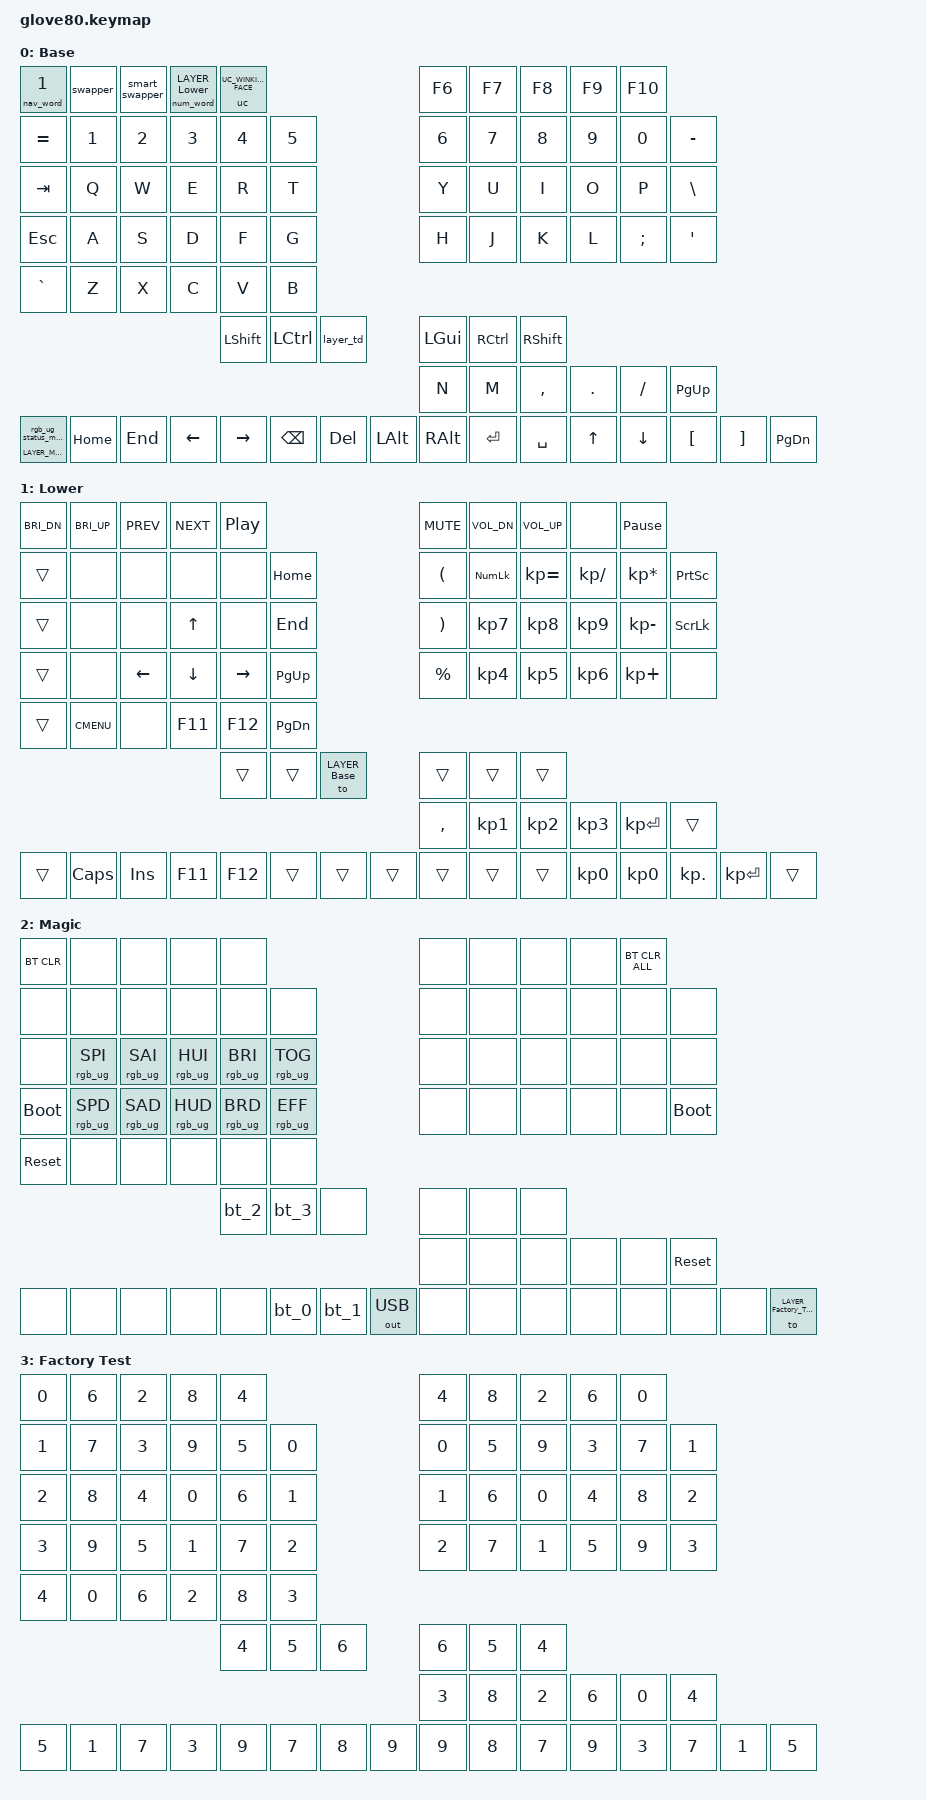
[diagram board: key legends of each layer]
/* Generated by Keyboard Curator. Change the board or the layout there, not this file. */

#include <behaviors.dtsi>
#include <dt-bindings/zmk/keys.h>
#include <dt-bindings/zmk/bt.h>
#include <dt-bindings/zmk/outputs.h>
#include <dt-bindings/zmk/rgb.h>
#include <dt-bindings/zmk/ext_power.h>
#include <dt-bindings/zmk/pointing.h>
#include <input/processors.dtsi>
#include <dt-bindings/zmk/input_transform.h>
#include <behaviors/num_word.dtsi>
#include <behaviors/unicode.dtsi>
#include <zmk-unicode/keys-extra.h>
#include "zmk-helpers/helper.h"

#define LAYER_Base 0
#define LAYER_Lower 1
#define LAYER_Magic 2
#define LAYER_Factory_Test 3

/ {
    behaviors {
        // Template: Magic
        magic: magic {
            compatible = "zmk,behavior-hold-tap";
            #binding-cells = <2>;
            flavor = "tap-preferred";
            tapping-term-ms = <200>;
            bindings = <&mo>, <&rgb_ug_status_macro>;
        };
        // Key 54 on Base: Lower while held; tap twice for Switch to Lower
        layer_td: layer_td {
            compatible = "zmk,behavior-tap-dance";
            #binding-cells = <0>;
            tapping-term-ms = <200>;
            bindings = <&mo LAYER_Lower>, <&to LAYER_Lower>;
        };
        nav_word: nav_word {
            compatible = "zmk,behavior-auto-layer";
            #binding-cells = <1>;
            continue-list = <LEFT DOWN UP RIGHT PG_DN PG_UP>;
            ignore-modifiers;
        };
        swapper: swapper {
            compatible = "zmk,behavior-tri-state";
            #binding-cells = <0>;
            bindings = <&kt LALT>, <&kp TAB>, <&kt LALT>;
        };
        smart_swapper: smart_swapper {
            compatible = "zmk,behavior-smart-toggle";
            #binding-cells = <0>;
            bindings = <&kp LALT>, <&kp TAB>;
        };
    };

    macros {
        // Key 64 on Base: Macro: Show status lights, hold for Magic
        rgb_ug_status_macro: rgb_ug_status_macro {
            compatible = "zmk,behavior-macro";
            #binding-cells = <0>;
            bindings
                = <&macro_tap &rgb_ug RGB_STATUS>
                ;
        };
        // Key 69 on Magic: Macro: Bluetooth 1
        bt_0: bt_0 {
            compatible = "zmk,behavior-macro";
            #binding-cells = <0>;
            bindings
                = <&macro_tap &out OUT_BLE &bt BT_SEL 0>
                ;
        };
        // Key 70 on Magic: Macro: Bluetooth 2
        bt_1: bt_1 {
            compatible = "zmk,behavior-macro";
            #binding-cells = <0>;
            bindings
                = <&macro_tap &out OUT_BLE &bt BT_SEL 1>
                ;
        };
        // Key 52 on Magic: Macro: Bluetooth 3
        bt_2: bt_2 {
            compatible = "zmk,behavior-macro";
            #binding-cells = <0>;
            bindings
                = <&macro_tap &out OUT_BLE &bt BT_SEL 2>
                ;
        };
        // Key 53 on Magic: Macro: Bluetooth 4
        bt_3: bt_3 {
            compatible = "zmk,behavior-macro";
            #binding-cells = <0>;
            bindings
                = <&macro_tap &out OUT_BLE &bt BT_SEL 3>
                ;
        };
    };

    keymap {
        compatible = "zmk,keymap";

        layer_0_Base {
            display-name = "Base";
            bindings = <
                &nav_word 1           &swapper  &smart_swapper  &num_word LAYER_Lower  &uc UC_WINKING_FACE                                          &kp F6    &kp F7     &kp F8     &kp F9    &kp F10
                &kp EQUAL             &kp N1    &kp N2          &kp N3                 &kp N4               &kp N5                          &kp N6  &kp N7    &kp N8     &kp N9     &kp N0    &kp MINUS
                &kp TAB               &kp Q     &kp W           &kp E                  &kp R                &kp T                           &kp Y   &kp U     &kp I      &kp O      &kp P     &kp BSLH
                &kp ESC               &kp A     &kp S           &kp D                  &kp F                &kp G                           &kp H   &kp J     &kp K      &kp L      &kp SEMI  &kp SQT
                &kp GRAVE             &kp Z     &kp X           &kp C                  &kp V                &kp B
                                                                                       &kp LSHFT            &kp LCTRL  &layer_td                    &kp LGUI  &kp RCTRL  &kp RSHFT
                                                                                                                                            &kp N   &kp M     &kp COMMA  &kp DOT    &kp FSLH  &kp PG_UP
                &magic LAYER_Magic 0  &kp HOME  &kp END         &kp LEFT               &kp RIGHT            &kp BSPC   &kp DEL    &kp LALT          &kp RALT  &kp RET    &kp SPACE  &kp UP    &kp DOWN   &kp LBKT  &kp RBKT  &kp PG_DN
            >;
        };

        layer_1_Lower {
            display-name = "Lower";
            bindings = <
                &kp C_BRI_DN  &kp C_BRI_UP  &kp C_PREV  &kp C_NEXT  &kp C_PP                                                 &kp C_MUTE  &kp C_VOL_DN  &kp C_VOL_UP   &none            &kp PAUSE_BREAK
                &trans        &none         &none       &none       &none      &kp HOME                           &kp LPAR   &kp KP_NUM  &kp KP_EQUAL  &kp KP_DIVIDE  &kp KP_MULTIPLY  &kp PSCRN
                &trans        &none         &none       &kp UP      &none      &kp END                            &kp RPAR   &kp KP_N7   &kp KP_N8     &kp KP_N9      &kp KP_MINUS     &kp SLCK
                &trans        &none         &kp LEFT    &kp DOWN    &kp RIGHT  &kp PG_UP                          &kp PRCNT  &kp KP_N4   &kp KP_N5     &kp KP_N6      &kp KP_PLUS      &none
                &trans        &kp K_CMENU   &none       &kp F11     &kp F12    &kp PG_DN
                                                                    &trans     &trans     &to LAYER_Base                     &trans      &trans        &trans
                                                                                                                  &kp COMMA  &kp KP_N1   &kp KP_N2     &kp KP_N3      &kp KP_ENTER     &trans
                &trans        &kp CAPS      &kp INS     &kp F11     &kp F12    &trans     &trans          &trans             &trans      &trans        &trans         &kp KP_N0        &kp KP_N0        &kp KP_DOT  &kp KP_ENTER  &trans
            >;
        };

        layer_2_Magic {
            display-name = "Magic";
            bindings = <
                &bt BT_CLR   &none            &none            &none            &none                                                         &none  &none  &none  &none  &bt BT_CLR_ALL
                &none        &none            &none            &none            &none            &none                                 &none  &none  &none  &none  &none  &none
                &none        &rgb_ug RGB_SPI  &rgb_ug RGB_SAI  &rgb_ug RGB_HUI  &rgb_ug RGB_BRI  &rgb_ug RGB_TOG                       &none  &none  &none  &none  &none  &none
                &bootloader  &rgb_ug RGB_SPD  &rgb_ug RGB_SAD  &rgb_ug RGB_HUD  &rgb_ug RGB_BRD  &rgb_ug RGB_EFF                       &none  &none  &none  &none  &none  &bootloader
                &sys_reset   &none            &none            &none            &none            &none
                                                                                &bt_2            &bt_3            &none                       &none  &none  &none
                                                                                                                                       &none  &none  &none  &none  &none  &sys_reset
                &none        &none            &none            &none            &none            &bt_0            &bt_1  &out OUT_USB         &none  &none  &none  &none  &none           &none  &none  &to LAYER_Factory_Test
            >;
        };

        layer_3_Factory_Test {
            display-name = "Factory Test";
            bindings = <
                &kp N0  &kp N6  &kp N2  &kp N8  &kp N4                                  &kp N4  &kp N8  &kp N2  &kp N6  &kp N0
                &kp N1  &kp N7  &kp N3  &kp N9  &kp N5  &kp N0                  &kp N0  &kp N5  &kp N9  &kp N3  &kp N7  &kp N1
                &kp N2  &kp N8  &kp N4  &kp N0  &kp N6  &kp N1                  &kp N1  &kp N6  &kp N0  &kp N4  &kp N8  &kp N2
                &kp N3  &kp N9  &kp N5  &kp N1  &kp N7  &kp N2                  &kp N2  &kp N7  &kp N1  &kp N5  &kp N9  &kp N3
                &kp N4  &kp N0  &kp N6  &kp N2  &kp N8  &kp N3
                                                &kp N4  &kp N5  &kp N6                  &kp N6  &kp N5  &kp N4
                                                                                &kp N3  &kp N8  &kp N2  &kp N6  &kp N0  &kp N4
                &kp N5  &kp N1  &kp N7  &kp N3  &kp N9  &kp N7  &kp N8  &kp N9          &kp N9  &kp N8  &kp N7  &kp N9  &kp N3  &kp N7  &kp N1  &kp N5
            >;
        };
    };
};
